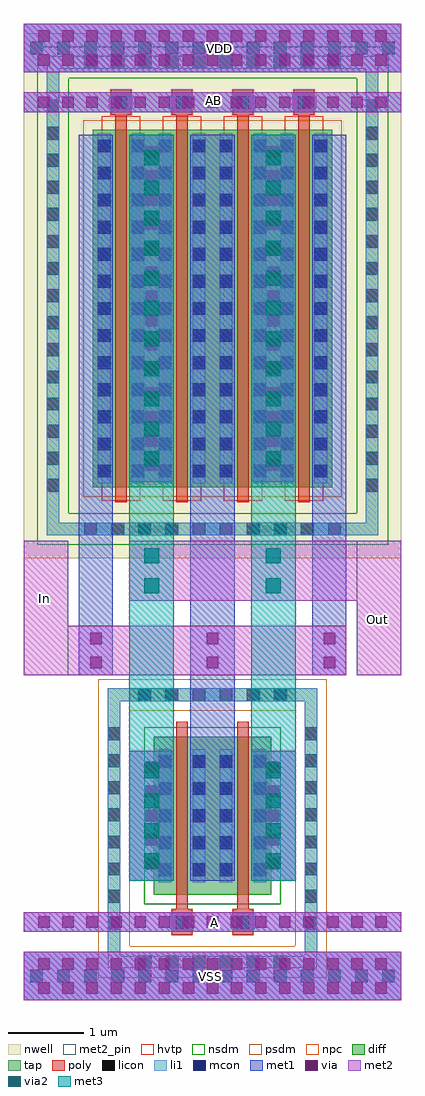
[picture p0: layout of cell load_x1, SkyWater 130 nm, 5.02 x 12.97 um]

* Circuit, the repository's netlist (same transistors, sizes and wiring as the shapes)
** sch_path: /foss/designs/RO_Aging_UNICASS/HVT/load_x1/load_x1.sch
.subckt load_x1 In Out VDD VSS AB A
*.PININFO In:B Out:B VDD:B VSS:B AB:B A:B
M1 In A Out VSS sky130_fd_pr__nfet_01v8 L=0.15 W=2.1 nf=1 ad='int((nf+1)/2) * W/nf * 0.29' as='int((nf+2)/2) * W/nf * 0.29' pd='2*int((nf+1)/2) * (W/nf + 0.29)'
+ ps='2*int((nf+2)/2) * (W/nf + 0.29)' nrd='0.29 / W' nrs='0.29 / W' sa=0 sb=0 sd=0 mult=2 m=2
M2 In AB Out VDD sky130_fd_pr__pfet_01v8_hvt L=0.15 W=4.75 nf=1 ad='int((nf+1)/2) * W/nf * 0.29' as='int((nf+2)/2) * W/nf * 0.29' pd='2*int((nf+1)/2) * (W/nf + 0.29)'
+ ps='2*int((nf+2)/2) * (W/nf + 0.29)' nrd='0.29 / W' nrs='0.29 / W' sa=0 sb=0 sd=0 mult=4 m=4
.ends
.end

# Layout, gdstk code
from math import pi, radians
import gdstk
lib = gdstk.Library(unit=1e-6, precision=1e-09)
def R(c, l, rs):  # rectangles x0, y0, x1, y1
    for r in rs: c.add(gdstk.rectangle(r[:2], r[2:], *l))
def A(c, l, x, y, w, h, nx, ny, dx, dy):  # array of equal rectangles
    R(c, l, [(x+i*dx, y+j*dy, x+i*dx+w, y+j*dy+h) for i in range(nx) for j in range(ny)])
nwell = (64, 20)
diff = (65, 20)
tap = (65, 44)
poly = (66, 20)
licon = (66, 44)
li1 = (67, 20)
mcon = (67, 44)
met1 = (68, 20)
via = (68, 44)
met2_pin = (69, 16)
met2 = (69, 20)
via2 = (69, 44)
met3 = (70, 20)
hvtp = (78, 44)
nsdm = (93, 44)
psdm = (94, 20)
npc = (95, 20)

vias_gen = lib.new_cell('vias_gen')
R(vias_gen, met2, [(0,0,0.59,0.8)])
R(vias_gen, via2, [(0.195,0.1,0.395,0.3), (0.195,0.5,0.395,0.7)])
R(vias_gen, met3, [(0,0,0.59,0.8)])

vias_gen_1 = lib.new_cell('vias_gen$1')
R(vias_gen_1, li1, [(0,0,5.02,0.64)])
A(vias_gen_1, mcon, 0.085, 0.235, 0.17, 0.17, 14, 1, 0.36, 0)
R(vias_gen_1, met1, [(0,0,5.02,0.64)])
A(vias_gen_1, via, 0.195, 0.085, 0.15, 0.15, 15, 2, 0.32, 0.32)
R(vias_gen_1, met2, [(0,0,5.02,0.64)])

nfet_1 = lib.new_cell('nfet$1')
R(nfet_1, diff, [(0,0,0.75,2.1)])
R(nfet_1, poly, [(0.24,-0.53,0.51,-0.2), (0.3,-0.2,0.45,2.3)])
A(nfet_1, licon, 0.065, 0.245, 0.17, 0.17, 1, 5, 0, 0.36)
A(nfet_1, licon, 0.515, 0.245, 0.17, 0.17, 1, 5, 0, 0.36)
R(nfet_1, licon, [(0.29,-0.45,0.46,-0.28)])
R(nfet_1, li1, [(0.21,-0.45,0.54,-0.28), (0.065,0.165,0.235,1.935), (0.515,0.165,0.685,1.935)])
A(nfet_1, mcon, 0.065, 0.245, 0.17, 0.17, 1, 5, 0, 0.36)
A(nfet_1, mcon, 0.515, 0.245, 0.17, 0.17, 1, 5, 0, 0.36)
R(nfet_1, mcon, [(0.29,-0.45,0.46,-0.28)])
R(nfet_1, met1, [(0.19,-0.48,0.56,-0.25), (0.035,0.185,0.265,1.915), (0.485,0.185,0.715,1.915)])
R(nfet_1, nsdm, [(-0.125,-0.125,0.875,2.225)])
R(nfet_1, npc, [(0.23,-0.54,0.52,-0.19)])

vias_gen_2 = lib.new_cell('vias_gen$2')
R(vias_gen_2, met1, [(0,0,1.73,0.59)])
A(vias_gen_2, via, 0.15, 0.22, 0.15, 0.15, 5, 1, 0.32, 0)
R(vias_gen_2, met2, [(0,0,1.73,0.59)])
A(vias_gen_2, via2, 0.165, 0.195, 0.2, 0.2, 4, 1, 0.4, 0)
R(vias_gen_2, met3, [(0,0,1.73,0.59)])

vias_gen_8 = lib.new_cell('vias_gen$8')
R(vias_gen_8, met1, [(0,0,0.455,0.66)])
R(vias_gen_8, via, [(0.155,0.095,0.305,0.245), (0.155,0.415,0.305,0.565)])
R(vias_gen_8, met2, [(0,0,0.455,0.66)])

vias_gen_9 = lib.new_cell('vias_gen$9')
R(vias_gen_9, met1, [(0,0,5.02,0.26)])
A(vias_gen_9, via, 0.195, 0.055, 0.15, 0.15, 15, 1, 0.32, 0)
R(vias_gen_9, met2, [(0,0,5.02,0.26)])

vias_gen_6 = lib.new_cell('vias_gen$6')
R(vias_gen_6, met1, [(0,0,0.59,0.66)])
R(vias_gen_6, via, [(0.22,0.095,0.37,0.245), (0.22,0.415,0.37,0.565)])
R(vias_gen_6, met2, [(0,0,0.59,0.66)])

vias_gen_4 = lib.new_cell('vias_gen$4')
R(vias_gen_4, met1, [(0,0,4.61,0.59)])
A(vias_gen_4, via, 0.15, 0.22, 0.15, 0.15, 14, 1, 0.32, 0)
R(vias_gen_4, met2, [(0,0,4.61,0.59)])
A(vias_gen_4, via2, 0.205, 0.195, 0.2, 0.2, 11, 1, 0.4, 0)
R(vias_gen_4, met3, [(0,0,4.61,0.59)])

pfet_1 = lib.new_cell('pfet$1')
R(pfet_1, nwell, [(-0.305,-0.38,1.055,5.47)])
R(pfet_1, diff, [(0,0,0.75,4.75)])
R(pfet_1, poly, [(0.3,-0.2,0.45,4.95), (0.24,4.95,0.51,5.28)])
A(pfet_1, licon, 0.065, 0.13, 0.17, 0.17, 1, 13, 0, 0.36)
A(pfet_1, licon, 0.515, 0.13, 0.17, 0.17, 1, 13, 0, 0.36)
R(pfet_1, licon, [(0.29,5.03,0.46,5.2)])
R(pfet_1, li1, [(0.065,0.05,0.235,4.7), (0.515,0.05,0.685,4.7), (0.21,5.03,0.54,5.2)])
A(pfet_1, mcon, 0.065, 0.13, 0.17, 0.17, 1, 13, 0, 0.36)
A(pfet_1, mcon, 0.515, 0.13, 0.17, 0.17, 1, 13, 0, 0.36)
R(pfet_1, mcon, [(0.29,5.03,0.46,5.2)])
R(pfet_1, met1, [(0.035,0.07,0.265,4.68), (0.485,0.07,0.715,4.68), (0.19,5,0.56,5.23)])
R(pfet_1, hvtp, [(0.12,-0.18,0.63,4.93)])
R(pfet_1, psdm, [(-0.125,-0.125,0.875,4.875)])
R(pfet_1, npc, [(0.23,4.94,0.52,5.29)])

load_x1 = lib.new_cell('load_x1')
R(load_x1, nwell, [(4.425,0.735,8.965,7.715), (8.965,0.735,9.445,7.715)])
A(load_x1, diff, 6.095, 1.68, 0.155, 4.75, 3, 1, 0.81, 0)
R(load_x1, diff, [(6.905,-3.735,6.965,-1.635)])
R(load_x1, tap, [(5.54,-4.715,5.71,-0.995), (5.71,-4.715,8.16,-4.545), (8.16,-4.715,8.33,-0.995), (5.71,-1.165,8.16,-0.995), (4.73,1.04,8.97,1.21), (4.73,1.04,4.9,7.24), (4.9,1.04,8.49,1.21), (8.97,1.04,9.14,7.24), (4.73,7.24,9.14,7.41)])
A(load_x1, licon, 5.95, -4.715, 0.17, 0.17, 6, 2, 0.36, 3.55)
A(load_x1, licon, 5.54, -4.2, 0.17, 0.17, 1, 8, 0, 0.36)
A(load_x1, licon, 8.16, -4.2, 0.17, 0.17, 1, 8, 0, 0.36)
A(load_x1, licon, 5.23, 1.04, 0.17, 0.17, 10, 2, 0.36, 6.2)
A(load_x1, licon, 4.73, 1.62, 0.17, 0.17, 1, 15, 0, 0.36)
A(load_x1, licon, 8.97, 1.62, 0.17, 0.17, 1, 15, 0, 0.36)
R(load_x1, li1, [(5.54,-4.715,5.71,-0.995), (5.71,-4.715,8.16,-4.545), (8.16,-4.715,8.33,-0.995), (5.71,-1.165,8.16,-0.995), (4.73,1.04,8.97,1.21), (4.73,1.04,4.9,7.24), (8.97,1.04,9.14,7.24), (4.73,7.24,9.14,7.41)])
A(load_x1, met1, 6.06, 1.75, 0.13, 4.61, 3, 1, 0.81, 0)
R(load_x1, met1, [(6.87,-3.55,7,-1.82), (6.64,-1.82,7.23,-0.16), (8.26,-0.82,8.715,1.75), (5.155,-0.16,5.61,1.75), (6.64,-0.16,7.23,1.75), (5.155,1.75,5.61,6.36), (8.26,1.75,8.715,6.36)])
R(load_x1, met2_pin, [(4.425,-5.135,9.445,-4.495), (4.425,-4.23,9.445,-3.97), (4.425,-0.82,5.015,0.97), (8.855,-0.82,9.445,0.97), (4.425,6.665,9.445,6.925), (4.425,7.195,9.445,7.835)])
R(load_x1, met2, [(4.425,-5.135,9.445,-4.495), (4.425,-0.82,8.26,-0.16), (8.855,-0.82,9.445,0.17), (4.425,-0.16,5.015,0.97), (5.83,0.17,9.445,0.97), (4.425,7.195,9.445,7.835)])
R(load_x1, met3, [(5.83,-2.16,6.42,0.17), (7.45,-2.16,8.04,0.17), (5.83,0.97,6.42,2.09), (7.45,0.97,8.04,2.09)])
R(load_x1, nsdm, [(4.605,0.915,9.27,1.335), (4.605,1.335,5.025,7.115), (8.85,1.335,9.27,7.115), (4.605,7.115,9.27,7.535)])
R(load_x1, psdm, [(5.415,-4.84,5.835,-0.87), (5.835,-4.84,8.035,-4.42), (8.035,-4.84,8.455,-0.87), (5.835,-1.29,8.035,-0.87)])
load_x1.add(gdstk.Reference(vias_gen, (5.83,0.17)))
load_x1.add(gdstk.Reference(vias_gen, (7.45,0.17)))
load_x1.add(gdstk.Reference(vias_gen_1, (4.425,-5.135)))
load_x1.add(gdstk.Reference(nfet_1, (6.905,-3.735), rotation=pi, x_reflection=True))
load_x1.add(gdstk.Reference(nfet_1, (7.715,-3.735), rotation=pi, x_reflection=True))
load_x1.add(gdstk.Reference(vias_gen_2, (6.42,-3.55), rotation=pi/2))
load_x1.add(gdstk.Reference(vias_gen_2, (8.04,-3.55), rotation=pi/2))
load_x1.add(gdstk.Reference(vias_gen_8, (5.155,-0.82)))
load_x1.add(gdstk.Reference(vias_gen_9, (4.425,-4.23)))
load_x1.add(gdstk.Reference(vias_gen_8, (8.26,-0.82)))
load_x1.add(gdstk.Reference(vias_gen_6, (6.64,-0.82)))
load_x1.add(gdstk.Reference(vias_gen_4, (8.04,1.75), rotation=pi/2))
load_x1.add(gdstk.Reference(vias_gen_1, (4.425,7.195)))
load_x1.add(gdstk.Reference(vias_gen_4, (6.42,1.75), rotation=pi/2))
load_x1.add(gdstk.Reference(pfet_1, (8.525,1.68), rotation=pi, x_reflection=True))
load_x1.add(gdstk.Reference(pfet_1, (7.715,1.68), rotation=pi, x_reflection=True))
load_x1.add(gdstk.Reference(pfet_1, (6.905,1.68), rotation=pi, x_reflection=True))
load_x1.add(gdstk.Reference(pfet_1, (6.095,1.68), rotation=pi, x_reflection=True))
load_x1.add(gdstk.Reference(vias_gen_9, (4.425,6.665)))
load_x1.add(gdstk.Label('VSS', (6.915,-4.82), layer=69, texttype=5))
load_x1.add(gdstk.Label('VDD', (7.03,7.51), layer=69, texttype=5))
load_x1.add(gdstk.Label('In', (4.705,0.195), layer=69, texttype=5))
load_x1.add(gdstk.Label('Out', (9.13,-0.08), layer=69, texttype=5))
load_x1.add(gdstk.Label('A', (6.96,-4.11), layer=69, texttype=5))
load_x1.add(gdstk.Label('AB', (6.945,6.82), layer=69, texttype=5))

lib.write_gds('load_x1.gds')
